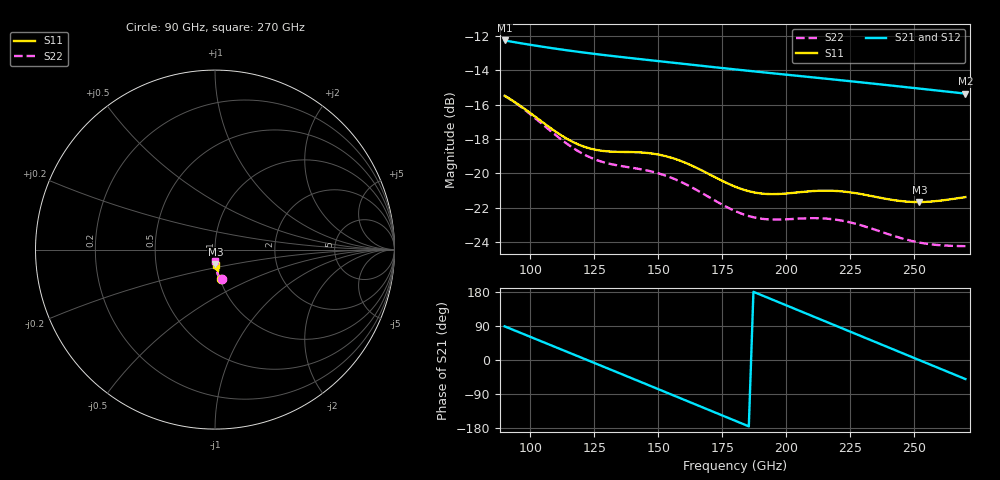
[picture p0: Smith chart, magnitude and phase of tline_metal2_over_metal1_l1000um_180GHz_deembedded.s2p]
! Created with skrf 2.0.1 (http://scikit-rf.org).
# GHz S DB R 50.0
!freq dBS11 angS11 dBS21 angS21 dBS12 angS12 dBS22 angS22
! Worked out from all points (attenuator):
!   101 points, 90 GHz to 270 GHz, reference 50 ohm
!   highest |S21| = -12.27 dB at 90 GHz (marker M1); lowest = -15.4 dB at 270 GHz (marker M2)
!   lowest |S11| = -21.7 dB at 252 GHz (marker M3), VSWR 1.18, Z = 49.6 - j8.23 ohm
!   |S11| at or under -10 dB: start of sweep to end of sweep
!   |S22| runs from -24.2 to -15.5 dB; largest |S21 - S12| = 2.4e-13
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90  -15.49 -77.6  -12.27 88.8  -12.27 88.8  -15.49 -77.3
97.2  -16.19 -80.8  -12.45 69.0  -12.45 69.0  -16.23 -80.9
106.2  -17.18 -83.0  -12.67 44.2  -12.67 44.2  -17.32 -83.9
113.4  -17.91 -83.0  -12.82 24.3  -12.82 24.3  -18.18 -84.5
120.6  -18.43 -81.9  -12.97 4.5  -12.97 4.5  -18.87 -83.8
127.8  -18.69 -80.8  -13.10 -15.4  -13.10 -15.4  -19.32 -82.8
135  -18.76 -80.7  -13.22 -35.3  -13.22 -35.3  -19.57 -82.3
144  -18.80 -82.3  -13.37 -60.2  -13.37 -60.2  -19.79 -83.5
151.2  -18.95 -84.7  -13.49 -80.2  -13.49 -80.2  -20.06 -85.4
163.8  -19.60 -88.8  -13.69 -115.1  -13.69 -115.1  -20.88 -88.7
172.8  -20.28 -90.0  -13.84 -140.1  -13.84 -140.1  -21.65 -89.4
180  -20.78 -89.4  -13.95 -160.1  -13.95 -160.1  -22.20 -88.5
187.2  -21.11 -87.9  -14.07 179.9  -14.07 179.9  -22.56 -86.7
194.4  -21.22 -86.2  -14.18 159.9  -14.18 159.9  -22.70 -85.0
203.4  -21.13 -85.3  -14.31 134.9  -14.31 134.9  -22.66 -84.2
210.6  -21.04 -85.7  -14.42 114.9  -14.42 114.9  -22.62 -85.0
217.8  -21.02 -86.9  -14.53 94.8  -14.53 94.8  -22.67 -86.6
225  -21.11 -88.2  -14.64 74.8  -14.64 74.8  -22.86 -88.3
241.2  -21.55 -89.2  -14.90 29.8  -14.90 29.8  -23.61 -90.4
252  -21.68 -88.2  -15.07 -0.3  -15.07 -0.3  -24.04 -89.9
261  -21.58 -87.5  -15.22 -25.3  -15.22 -25.3  -24.20 -89.1
270  -21.39 -87.9  -15.36 -50.3  -15.36 -50.3  -24.25 -89.1
